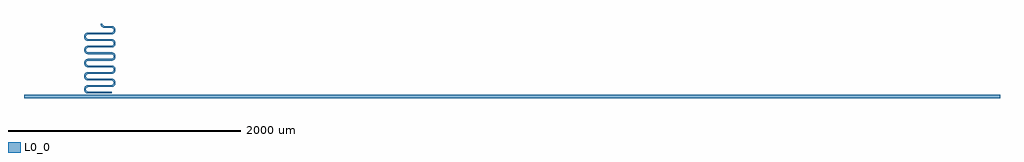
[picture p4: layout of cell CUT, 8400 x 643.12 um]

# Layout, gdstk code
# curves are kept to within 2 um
import gdstk
lib = gdstk.Library(unit=1e-6, precision=1e-09)
def R(c, l, rs):  # rectangles x0, y0, x1, y1
    for r in rs: c.add(gdstk.rectangle(r[:2], r[2:], *l))
def P(c, l, *ps):  # polygons
    for p in ps: c.add(gdstk.Polygon(p, *l))
L0_0 = (0, 0)

cut = lib.new_cell('CUT')
R(cut, L0_0, [(800,2516,9200,2545.8)])
P(cut, L0_0, [(1554.459,2572.227),(1350.62,2572.443),(1341.334,2576.161),(1334.784,2583.72),(1332.45,2592.431),(1334.343,2602.253),(1342.17,2611.286),(1352.63,2614.629),(1556.561,2615.013),(1572.038,2621.209),(1582.695,2633.334),(1564.643,2633.334),(1551.53,2628.795),(1348.607,2628.435),(1337.438,2624.865),(1328.051,2617.838),(1321.479,2608.127),(1318.444,2596.801),(1319.716,2583.48),(1325.848,2571.585),(1337.438,2562.016),(1350.278,2558.245),(1554.459,2558.085)],
  [(1582.954,2633.808),(1586.845,2648.326),(1583.69,2664.695),(1574.682,2676.728),(1561.49,2683.931),(1551.53,2685.363),(1351.623,2685.459),(1343.032,2688.205),(1336.359,2694.272),(1332.809,2702.562),(1333.032,2711.608),(1318.644,2711.608),(1318.923,2699.885),(1323.896,2687.462),(1331.784,2678.785),(1343.678,2672.653),(1353.639,2671.221),(1554.549,2671.005),(1566.168,2665.361),(1572.145,2655.009),(1571.576,2643.07),(1564.643,2633.334)],
  [(1333.285,2712.553),(1339.747,2722.608),(1351.623,2727.693),(1559.865,2728.786),(1573.385,2735.353),(1582.148,2745.467),(1586.525,2758.113),(1585.888,2771.48),(1579.801,2784.357),(1551.53,2784.357),(1559.414,2782.838),(1566.168,2778.497),(1570.385,2772.865),(1572.647,2765.161),(1571.883,2757.168),(1568.204,2750.031),(1562.136,2744.773),(1554.549,2742.147),(1345.304,2740.935),(1330.486,2733.296),(1320.817,2719.716),(1318.644,2711.608)],
  [(1579.321,2784.999),(1567.73,2794.569),(1553.212,2798.459),(1350.62,2798.715),(1337.607,2805.821),(1332.426,2819.712),(1337.607,2833.604),(1350.62,2840.709),(1553.212,2840.965),(1567.73,2844.856),(1579.819,2855.091),(1350.278,2854.907),(1338.952,2851.872),(1329.241,2845.3),(1322.214,2835.913),(1318.644,2824.744),(1319.716,2809.752),(1325.848,2797.857),(1335.962,2789.094),(1348.607,2784.717)],
  [(1580.329,2855.772),(1586.525,2871.249),(1584.94,2887.844),(1575.927,2901.868),(1561.49,2910.203),(1551.53,2911.635),(1351.623,2911.731),(1343.919,2913.993),(1338.286,2918.21),(1332.498,2931.166),(1318.324,2931.166),(1320.817,2919.708),(1326.919,2909.696),(1337.438,2901.424),(1348.607,2897.853),(1557.506,2896.634),(1564.643,2892.955),(1569.375,2887.749),(1572.647,2874.264),(1570.385,2866.56),(1566.168,2860.928),(1560.342,2856.984),(1552.539,2855.091)],
  [(1332.45,2931.839),(1333.593,2939.786),(1337.607,2946.74),(1343.919,2951.703),(1351.623,2953.965),(1559.865,2955.058),(1573.385,2961.625),(1582.148,2971.739),(1586.525,2984.385),(1585.888,2997.752),(1579.963,3010.413),(1554.549,3010.413),(1561.25,3008.271),(1567.561,3003.308),(1571.576,2996.354),(1572.743,2989.416),(1571.576,2982.478),(1567.561,2975.525),(1561.25,2970.561),(1554.549,2968.419),(1345.304,2967.207),(1330.486,2959.568),(1320.228,2944.412),(1318.324,2931.166)],
  [(1579.321,3011.271),(1567.73,3020.841),(1553.212,3024.731),(1350.62,3024.987),(1337.607,3032.093),(1332.426,3045.984),(1337.607,3059.876),(1350.62,3066.981),(1553.212,3067.237),(1567.73,3071.128),(1579.819,3081.363),(1350.278,3081.179),(1338.952,3078.144),(1329.241,3071.572),(1322.214,3062.185),(1318.644,3051.016),(1319.716,3036.024),(1325.848,3024.129),(1335.962,3015.366),(1348.607,3010.989)],
  [(1580.329,3082.044),(1586.246,3095.861),(1586.246,3109.243),(1581.272,3121.667),(1570.644,3132.295),(1554.89,3137.747),(1490.072,3138.505),(1478.398,3146.007),(1473.86,3159.12),(1459.718,3159.12),(1461.15,3149.16),(1465.33,3140.006),(1473.218,3131.329),(1481.933,3126.298),(1493.391,3123.805),(1553.546,3123.669),(1562.998,3120.398),(1571.223,3110.436),(1572.145,3097.551),(1564.643,3085.878),(1552.539,3081.363)])

lib.write_gds('CUT.gds')
